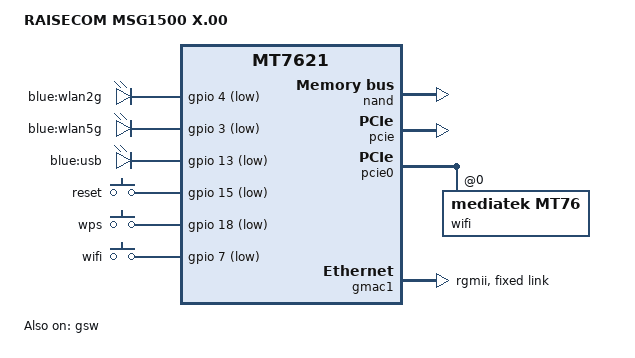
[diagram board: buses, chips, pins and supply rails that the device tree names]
// SPDX-License-Identifier: GPL-2.0-or-later OR MIT

#include "mt7621.dtsi"

#include <dt-bindings/gpio/gpio.h>
#include <dt-bindings/input/input.h>

/ {
	compatible = "raisecom,msg1500-x-00", "mediatek,mt7621-soc";
	model = "RAISECOM MSG1500 X.00";

	aliases {
		led-boot = &led_usb;
		led-failsafe = &led_usb;
		led-upgrade = &led_usb;
	};

	leds {
		compatible = "gpio-leds";

		wlan2g {
			label = "blue:wlan2g";
			gpios = <&gpio 4 GPIO_ACTIVE_LOW>;
			linux,default-trigger = "phy0radio";
		};

		wlan5g {
			label = "blue:wlan5g";
			gpios = <&gpio 3 GPIO_ACTIVE_LOW>;
			linux,default-trigger = "phy1radio";
		};

		led_usb: usb {
			label = "blue:usb";
			gpios = <&gpio 13 GPIO_ACTIVE_LOW>;
			trigger-sources = <&ehci_port2>;
			linux,default-trigger = "usbport";
		};
	};

	keys {
		compatible = "gpio-keys";

		reset {
			label = "reset";
			gpios = <&gpio 15 GPIO_ACTIVE_LOW>;
			linux,code = <KEY_RESTART>;
		};

		wps {
			label = "wps";
			gpios = <&gpio 18 GPIO_ACTIVE_LOW>;
			linux,code = <KEY_WPS_BUTTON>;
		};

		wifi {
			label = "wifi";
			gpios = <&gpio 7 GPIO_ACTIVE_LOW>;
			linux,code = <KEY_RFKILL>;
		};
	};
};

&nand {
	status = "okay";

	partitions {
		compatible = "fixed-partitions";
		#address-cells = <1>;
		#size-cells = <1>;

		partition@0 {
			label = "Bootloader";
			reg = <0x0 0x80000>;
			read-only;
		};

		partition@80000 {
			label = "Config";
			reg = <0x80000 0x80000>;
			read-only;
		};

		factory: partition@100000 {
			label = "Factory";
			reg = <0x100000 0x40000>;
			read-only;
		};

		partition@140000 {
			label = "kernel";
			reg = <0x140000 0x400000>;
		};

		partition@540000 {
			label = "ubi";
			reg = <0x540000 0x7a40000>;
		};
	};
};

&pcie {
	status = "okay";
};

&pcie0 {
	wifi@0,0 {
		compatible = "mediatek,mt76";
		reg = <0x0000 0 0 0 0>;
		mediatek,mtd-eeprom = <&factory 0x0>;
		/* 5 GHz (phy1) does not take the address from calibration data,
		   but setting it manually here works */
		mtd-mac-address = <&factory 0x4>;
	};
};

&gmac1 {
	phy-mode = "rgmii";
	status = "okay";

	fixed-link {
		speed = <1000>;
		full-duplex;
		pause;
	};
};

&gsw {
	mediatek,portmap = "llllw";
	status = "okay";
};

&hnat {
	mtketh-wan = "eth1";
	mtketh-ppd = "eth0";
	mtketh-lan = "eth0";
	mtketh-max-gmac = <2>;
	/delete-property/ mtkdsa-wan-port;
};

&switch0 {
	status = "disabled";
};

&state_default {
	gpio {
		groups = "i2c", "jtag", "uart3", "wdt";
		function = "gpio";
	};
};
